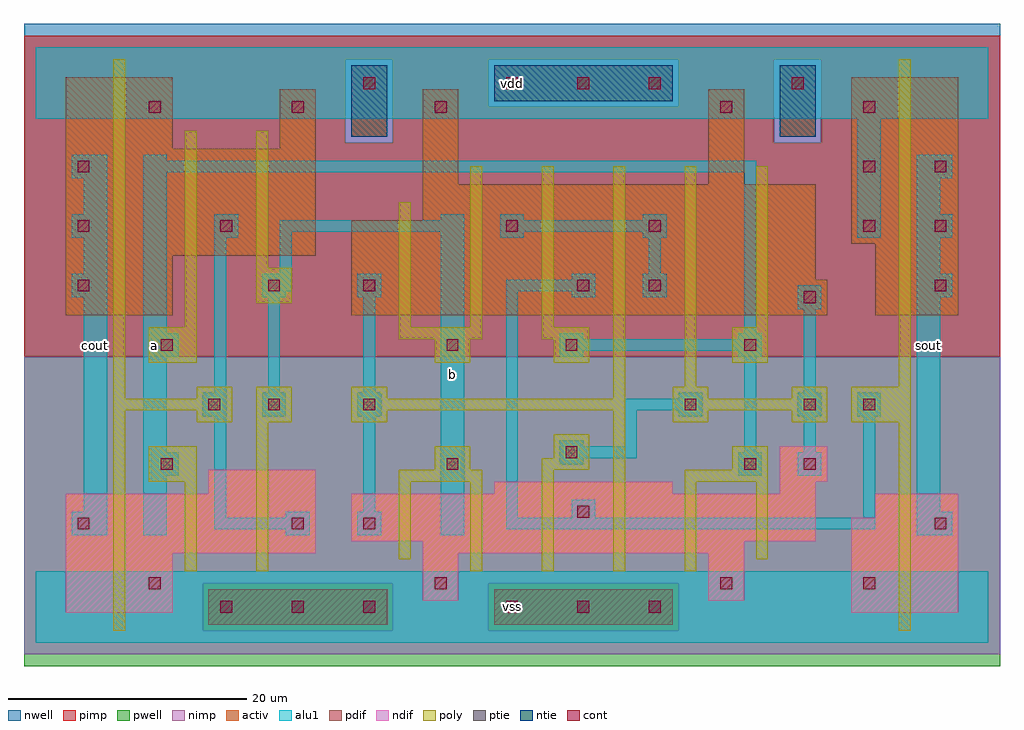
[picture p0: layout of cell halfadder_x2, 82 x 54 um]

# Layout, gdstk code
import gdstk
lib = gdstk.Library(unit=1e-6, precision=1e-09)
def R(c, l, rs):  # rectangles x0, y0, x1, y1
    for r in rs: c.add(gdstk.rectangle(r[:2], r[2:], *l))
def A(c, l, x, y, w, h, nx, ny, dx, dy):  # array of equal rectangles
    R(c, l, [(x+i*dx, y+j*dy, x+i*dx+w, y+j*dy+h) for i in range(nx) for j in range(ny)])
ndif = (3, 0)
pdif = (4, 0)
ntie = (5, 0)
ptie = (6, 0)
cont = (25, 0)
pwell = (41, 0)
nwell = (42, 0)
activ = (43, 0)
pimp = (44, 0)
nimp = (45, 0)
poly = (46, 0)
alu1 = (49, 0)

halfadder_x2 = lib.new_cell('halfadder_x2')
R(halfadder_x2, ndif, [(2.5,2.5,11.5,7.5), (68.5,2.5,77.5,10.5), (32.5,3.5,35.5,7.5), (56.5,3.5,59.5,7.5), (2.5,7.5,23.5,12.5), (32.5,7.5,59.5,8.5), (26.5,8.5,65.5,12.5), (70.5,10.5,77.5,12.5), (14.5,12.5,23.5,14.5), (38.5,12.5,53.5,13.5), (62.5,12.5,65.5,13.5), (62.5,13.5,66.5,16.5)])
R(halfadder_x2, pdif, [(2.5,27.5,11.5,32.5), (26.5,27.5,66.5,30.5), (70.5,27.5,77.5,33.5), (26.5,30.5,65.5,35.5), (2.5,32.5,23.5,41.5), (68.5,33.5,77.5,47.5), (32.5,35.5,65.5,38.5), (32.5,38.5,35.5,46.5), (56.5,38.5,59.5,46.5), (2.5,41.5,11.5,47.5), (20.5,41.5,23.5,46.5)])
R(halfadder_x2, ntie, [(26.5,42.5,29.5,48.5), (62.5,42.5,65.5,48.5), (38.5,45.5,53.5,48.5)])
R(halfadder_x2, ptie, [(14.5,1.5,29.5,4.5), (38.5,1.5,53.5,4.5)])
A(halfadder_x2, cont, 15.5, 2.5, 1, 1, 3, 1, 6, 0)
A(halfadder_x2, cont, 39.5, 2.5, 1, 1, 3, 2, 6, 44)
A(halfadder_x2, cont, 9.5, 4.5, 1, 1, 3, 1, 24, 0)
A(halfadder_x2, cont, 69.5, 4.5, 1, 1, 1, 3, 0, 15)
A(halfadder_x2, cont, 27.5, 9.5, 1, 1, 1, 3, 0, 10)
A(halfadder_x2, cont, 3.5, 29.5, 1, 1, 1, 3, 0, 5)
A(halfadder_x2, cont, 75.5, 29.5, 1, 1, 1, 3, 0, 5)
A(halfadder_x2, cont, 9.5, 44.5, 1, 1, 3, 1, 12, 0)
R(halfadder_x2, cont, [(3.5,9.5,4.5,10.5), (21.5,9.5,22.5,10.5), (75.5,9.5,76.5,10.5), (45.5,10.5,46.5,11.5), (10.5,14.5,11.5,15.5), (34.5,14.5,35.5,15.5), (59.5,14.5,60.5,15.5), (64.5,14.5,65.5,15.5), (44.5,15.5,45.5,16.5), (14.5,19.5,15.5,20.5), (19.5,19.5,20.5,20.5), (54.5,19.5,55.5,20.5), (64.5,19.5,65.5,20.5), (10.5,24.5,11.5,25.5), (34.5,24.5,35.5,25.5), (44.5,24.5,45.5,25.5), (59.5,24.5,60.5,25.5), (64.5,28.5,65.5,29.5), (19.5,29.5,20.5,30.5), (45.5,29.5,46.5,30.5), (51.5,29.5,52.5,30.5), (15.5,34.5,16.5,35.5), (39.5,34.5,40.5,35.5), (51.5,34.5,52.5,35.5), (69.5,39.5,70.5,40.5), (57.5,44.5,58.5,45.5), (69.5,44.5,70.5,45.5), (27.5,46.5,28.5,47.5), (63.5,46.5,64.5,47.5)])
R(halfadder_x2, pwell, [(-1,-2,81,24)])
R(halfadder_x2, nwell, [(-1,24,81,52)])
R(halfadder_x2, activ, [(14.5,1.5,29.5,4.5), (38.5,1.5,53.5,4.5), (2.5,2.5,11.5,7.5), (68.5,2.5,77.5,10.5), (32.5,3.5,35.5,7.5), (56.5,3.5,59.5,7.5), (2.5,7.5,23.5,12.5), (32.5,7.5,59.5,8.5), (26.5,8.5,65.5,12.5), (70.5,10.5,77.5,12.5), (14.5,12.5,23.5,14.5), (38.5,12.5,53.5,13.5), (62.5,12.5,65.5,13.5), (62.5,13.5,66.5,16.5), (2.5,27.5,11.5,32.5), (26.5,27.5,66.5,30.5), (70.5,27.5,77.5,33.5), (26.5,30.5,65.5,35.5), (2.5,32.5,23.5,41.5), (68.5,33.5,77.5,47.5), (32.5,35.5,65.5,38.5), (32.5,38.5,35.5,46.5), (56.5,38.5,59.5,46.5), (2.5,41.5,11.5,47.5), (20.5,41.5,23.5,46.5), (26.5,42.5,29.5,48.5), (62.5,42.5,65.5,48.5), (38.5,45.5,53.5,48.5)])
R(halfadder_x2, pimp, [(14,1,30,5), (38,1,54,5), (-1,24,81,42), (-1,42,26,49), (30,42,62,45), (66,42,81,49), (30,45,38,49), (54,45,62,49), (-1,49,81,51)])
R(halfadder_x2, nimp, [(-1,-1,81,1), (-1,1,14,5), (30,1,38,5), (54,1,81,5), (-1,5,81,24), (26,42,30,49), (62,42,66,49), (38,45,54,49)])
R(halfadder_x2, poly, [(6.5,1,7.5,19.5), (72.5,1,73.5,18.5), (12.5,6,13.5,13.5), (18.5,6,19.5,18.5), (36.5,6,37.5,13.5), (42.5,6,43.5,14.5), (48.5,6,49.5,19.5), (54.5,6,55.5,13.5), (30.5,7,31.5,13.5), (60.5,7,61.5,13.5), (9.5,13.5,13.5,16.5), (30.5,13.5,37.5,14.5), (54.5,13.5,61.5,14.5), (33.5,14.5,36.5,16.5), (42.5,14.5,46.5,15.5), (58.5,14.5,61.5,16.5), (43.5,15.5,46.5,17.5), (13.5,18.5,16.5,19.5), (18.5,18.5,21.5,21.5), (26.5,18.5,29.5,19.5), (53.5,18.5,56.5,19.5), (63.5,18.5,66.5,19.5), (68.5,18.5,73.5,21.5), (6.5,19.5,16.5,20.5), (26.5,19.5,49.5,20.5), (53.5,19.5,66.5,20.5), (6.5,20.5,7.5,49), (13.5,20.5,16.5,21.5), (26.5,20.5,29.5,21.5), (48.5,20.5,49.5,40), (53.5,20.5,56.5,21.5), (63.5,20.5,66.5,21.5), (54.5,21.5,55.5,40), (72.5,21.5,73.5,49), (9.5,23.5,13.5,26.5), (33.5,23.5,36.5,25.5), (43.5,23.5,46.5,25.5), (58.5,23.5,61.5,26.5), (30.5,25.5,37.5,26.5), (42.5,25.5,46.5,26.5), (12.5,26.5,13.5,43), (30.5,26.5,31.5,37), (36.5,26.5,37.5,40), (42.5,26.5,43.5,40), (60.5,26.5,61.5,40), (18.5,28.5,21.5,31.5), (18.5,31.5,19.5,43)])
A(halfadder_x2, alu1, 27, 9, 2, 2, 1, 3, 0, 10)
A(halfadder_x2, alu1, 3, 29, 3, 2, 1, 3, 0, 5)
A(halfadder_x2, alu1, 74, 29, 3, 2, 1, 3, 0, 5)
R(halfadder_x2, alu1, [(0,0,80,6), (3,9,6,11), (9,9,11,14), (21,9,23,9.5), (34,9,36,34.5), (74,9,77,11), (15,9.5,23,10.5), (39.5,9.5,70.5,10.5), (15,10.5,16,19), (21,10.5,23,11), (39.5,10.5,40.5,29.5), (45,10.5,47,12), (69.5,10.5,70.5,19), (4,11,6,29), (27.5,11,28.5,19), (74,11,76,29), (9,14,12,16), (59,14,61,16), (64,14,66,16), (44,15,46,15.5), (44,15.5,50.5,16.5), (9,16,11,24), (59.5,16,60.5,24), (64.5,16,65.5,19), (44,16.5,46,17), (49.5,16.5,50.5,19.5), (14,19,16,21), (19,19,21,21), (54,19,56,19.5), (64,19,66,21), (69,19,71,21), (49.5,19.5,56,20.5), (54,20.5,56,21), (15,21,16,34), (19.5,21,20.5,29), (27.5,21,28.5,29), (64.5,21,65.5,28), (9,24,12,26), (44,24,46,24.5), (59,24,61,24.5), (44,24.5,61,25.5), (44,25.5,46,26), (59,25.5,61,26), (9,26,11,39.5), (59.5,26,60.5,39.5), (64,28,66,30), (19,29,21,29.5), (45,29,47,29.5), (51,29,53,31), (19,29.5,21.5,31), (39.5,29.5,47,30.5), (45,30.5,47,31), (4,31,6,34), (20.5,31,21.5,34.5), (51.5,31,52.5,34), (74,31,76,34), (15,34,17,36), (39,34,41,34.5), (51,34,53,34.5), (69,34,71,44), (20.5,34.5,36,35.5), (39,34.5,53,35.5), (34,35.5,36,36), (39,35.5,41,36), (51,35.5,53,36), (4,36,6,39), (74,36,76,39), (9,39.5,60.5,40.5), (9,40.5,11,41), (0,44,80,50)])
halfadder_x2.add(gdstk.Label('cout', (5,25), layer=49, texttype=0))
halfadder_x2.add(gdstk.Label('a', (10,25), layer=49, texttype=0))
halfadder_x2.add(gdstk.Label('vss', (40,3), layer=49, texttype=0))
halfadder_x2.add(gdstk.Label('b', (35,22.5), layer=49, texttype=0))
halfadder_x2.add(gdstk.Label('vdd', (40,47), layer=49, texttype=0))
halfadder_x2.add(gdstk.Label('sout', (75,25), layer=49, texttype=0))

lib.write_gds('halfadder_x2.gds')
